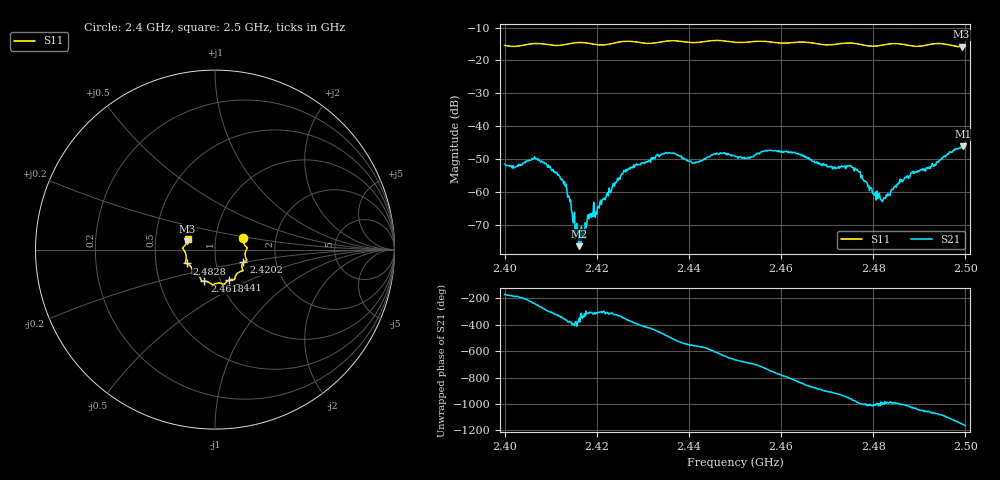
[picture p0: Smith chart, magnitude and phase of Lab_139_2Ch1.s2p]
# Hz S RI R 50
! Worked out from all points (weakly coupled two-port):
!   601 points, 2.4 GHz to 2.5 GHz, reference 50 ohm
!   highest |S21| = -46.04 dB at 2.4995 GHz (marker M1); lowest = -76.4 dB at 2.4162 GHz (marker M2)
!   lowest |S11| = -15.8 dB at 2.4992 GHz (marker M3), VSWR 1.39, Z = 36.5 + j3.65 ohm
!   |S11| at or under -10 dB: start of sweep to end of sweep
!   S12 and S22 are empty: the file has one direction only
!   S11 on the Smith chart (normalised r, x): 2.4 GHz: 1.36, +0.18; 2.4202 GHz: 1.36, -0.20; 2.441 GHz: 1.10, -0.39; 2.4618 GHz: 0.84, -0.30; 2.4828 GHz: 0.72, -0.11; 2.5 GHz: 0.73, +0.09
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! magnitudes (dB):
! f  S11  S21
! 2.4 GHz  -15.4  -51.5
! 2.4068 GHz  -14.8  -49.8
! 2.4115 GHz  -15.4  -54.8
! 2.413 GHz  -15.2  -56.8
! 2.4162 GHz  -14.5  -76.4
! 2.4167 GHz  -14.5  -70.5
! 2.4185 GHz  -14.8  -66.6
! 2.4202 GHz  -15.2  -64.5
! 2.4258 GHz  -14.2  -53.4
! 2.4333 GHz  -14.5  -48.8
! 2.441 GHz  -14.6  -51.1
! 2.45 GHz  -14.5  -49.1
! 2.4618 GHz  -14.6  -47.9
! 2.4667 GHz  -14.6  -50.5
! 2.4752 GHz  -14.7  -52.0
! 2.4802 GHz  -15.7  -60.8
! 2.4828 GHz  -15.1  -60.8
! 2.4833 GHz  -15.0  -61.1
! 2.4887 GHz  -15.6  -54.3
! 2.4992 GHz  -15.8  -46.5
! 2.4995 GHz  -15.8  -46.0
! 2.5 GHz  -15.7  -46.2
